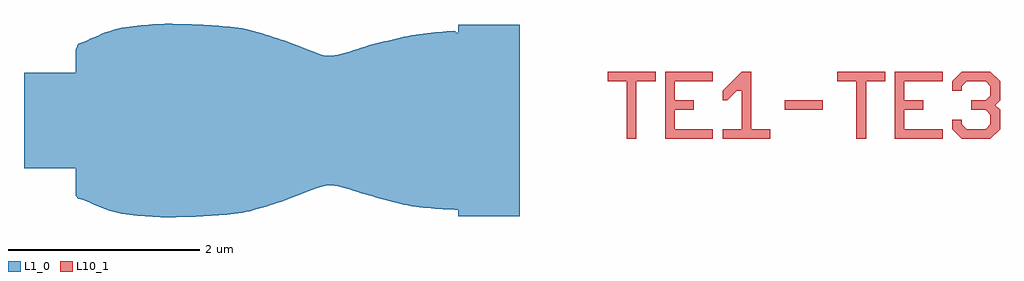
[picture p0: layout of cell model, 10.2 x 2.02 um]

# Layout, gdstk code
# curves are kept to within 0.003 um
import gdstk
lib = gdstk.Library(unit=1e-6, precision=1e-09)
def R(c, l, rs):  # rectangles x0, y0, x1, y1
    for r in rs: c.add(gdstk.rectangle(r[:2], r[2:], *l))
def P(c, l, *ps):  # polygons
    for p in ps: c.add(gdstk.Polygon(p, *l))
L1_0 = (1, 0)
L10_1 = (10, 1)

text_1 = lib.new_cell('TEXT$1')
R(text_1, L10_1, [(1.85,0.3,2.25,0.4)])
P(text_1, L10_1, [(0.2,0),(0.2,0.6),(0,0.6),(0,0.7),(0.5,0.7),(0.5,0.6),(0.3,0.6),(0.3,0)],
  [(0.6,0),(0.6,0.7),(1.1,0.7),(1.1,0.6),(0.7,0.6),(0.7,0.4),(0.9,0.4),(0.9,0.3),(0.7,0.3),(0.7,0.1),(1.1,0.1),(1.1,0)],
  [(1.2,0),(1.2,0.1),(1.4,0.1),(1.4,0.5),(1.35,0.5),(1.25,0.4),(1.2,0.4),(1.2,0.5),(1.4,0.7),(1.5,0.7),(1.5,0.1),(1.7,0.1),(1.7,0)],
  [(2.6,0),(2.6,0.6),(2.4,0.6),(2.4,0.7),(2.9,0.7),(2.9,0.6),(2.7,0.6),(2.7,0)],
  [(3,0),(3,0.7),(3.5,0.7),(3.5,0.6),(3.1,0.6),(3.1,0.4),(3.3,0.4),(3.3,0.3),(3.1,0.3),(3.1,0.1),(3.5,0.1),(3.5,0)],
  [(3.7,0),(3.6,0.1),(3.6,0.2),(3.7,0.2),(3.7,0.15),(3.75,0.1),(3.95,0.1),(4,0.15),(4,0.25),(3.95,0.3),(3.8,0.3),(3.8,0.4),(3.95,0.4),(4,0.45),(4,0.55),(3.95,0.6),(3.75,0.6),(3.7,0.55),(3.7,0.5),(3.6,0.5),(3.6,0.6),(3.7,0.7),(4,0.7),(4.1,0.6),(4.1,0.4),(4.05,0.35),(4.1,0.3),(4.1,0.1),(4,0)])

model = lib.new_cell('model')
R(model, L1_0, [(2,-3.82,2.64,-1.82), (-2.54,-3.32,-2,-2.32)])
P(model, L1_0, [(-1.112,-3.829),(-1.234,-3.823),(-1.437,-3.805),(-1.519,-3.794),(-1.602,-3.775),(-1.725,-3.732),(-1.926,-3.648),(-1.972,-3.637),(-2,-3.606),(-2,-2.079),(-1.972,-2.018),(-1.643,-1.885),(-1.56,-1.86),(-1.478,-1.844),(-1.274,-1.822),(-1.112,-1.812),(-0.706,-1.818),(-0.422,-1.838),(-0.341,-1.846),(-0.218,-1.866),(-0.095,-1.898),(0.148,-1.974),(0.551,-2.126),(0.628,-2.142),(0.666,-2.143),(0.705,-2.14),(0.783,-2.124),(1.146,-2.014),(1.43,-1.947),(1.552,-1.924),(1.675,-1.908),(1.961,-1.883),(2,-1.912),(2,-3.76),(1.961,-3.752),(1.634,-3.731),(1.471,-3.707),(1.106,-3.614),(0.783,-3.517),(0.705,-3.5),(0.666,-3.498),(0.628,-3.499),(0.551,-3.517),(0.148,-3.667),(-0.095,-3.744),(-0.259,-3.783),(-0.422,-3.803),(-0.625,-3.818),(-0.949,-3.829)])
model.add(gdstk.Reference(text_1, (3.56,-3.01)))

lib.write_gds('model.gds')
